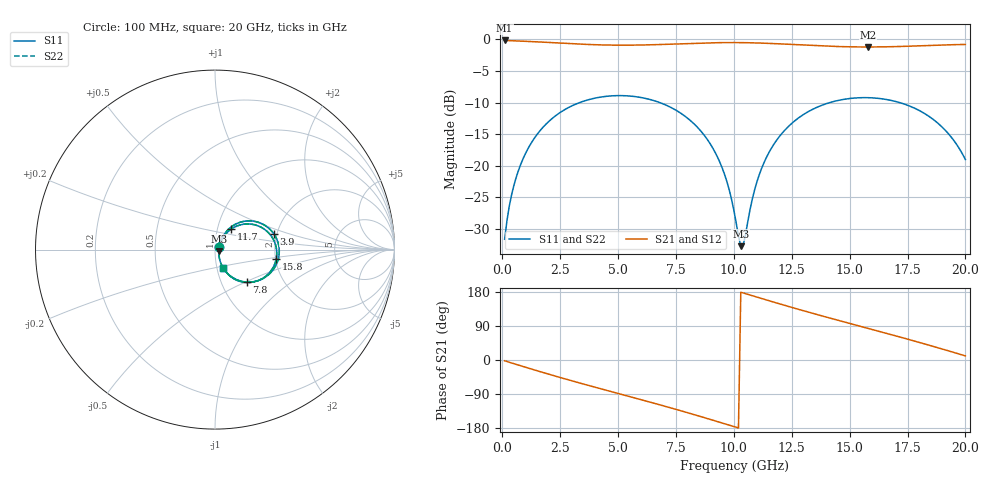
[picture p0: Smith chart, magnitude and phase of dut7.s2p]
! Touchstone file exported from HFSS 2026.1.0
!  File:  C:/ffzhzh/LocalFiles/Ansys_Project_Files/temp_train_TSV_RDL_7_1782960719_45568.aedt
!  Generated:  11:08:06 AM Jul  2, 2026
!  Design:  TSV_RDL
!  Project:  temp_train_TSV_RDL_7_1782960719_45568
! Variables:
!  h_bsmrdl = 5.77um
!  h_ox = 20um
!  h_rdl = 5um
!  h_sub = 92.3um
!  h_tmrdl = 3.32um
!  h_tsv = 92.3um
!  h_via = 3um
!  l_bsmrdl = 617.44um
!  l_sub = 5869.02um
!  l_tmrdl = 870.38um
!  m_sub = 200um
!  pitch = 39.52um
!  r_tsv = 8.91um
!  s_tmrdl = 10um
!  w_bsmrdl = 17.58um
!  w_sub = 500um
!  w_tmrdl = 27.48um
!  x_tsv_center1 = 884.12um
!  x_tsv_center2 = 1519.14um
!  x_tsv_center3 = 2417um
!  x_tsv_center4 = 3052.02um
!  x_tsv_center5 = 3949.88um
!  x_tsv_center6 = 4584.9um
# GHz S MA R 50.000000
! Terminal data exported
! Port[1] = TM_RDL1_1_T1
! Port[2] = TM_RDL5_1_T1
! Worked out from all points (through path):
!   200 points, 100 MHz to 20 GHz, reference 50 ohm
!   highest |S21| = -0.19 dB at 100 MHz (marker M1); lowest = -1.2 dB at 15.8 GHz (marker M2)
!   group delay of S21, straight-line fit = 48.3 ps
!   lowest |S11| = -32.7 dB at 10.3 GHz (marker M3), VSWR 1.05, Z = 52.3 - j0.729 ohm
!   |S11| at or under -10 dB: start of sweep to 3.349 GHz; 6.791 GHz to 14.16 GHz (7.365 GHz wide, 70.3 % of centre); 17.15 GHz to end of sweep
!   |S22| runs from -32.8 to -8.9 dB; largest |S21 - S12| = 2.2e-14
!   S11 on the Smith chart (normalised r, x): 100 MHz: 1.05, +0.03; 3.9 GHz: 1.92, +0.38; 7.8 GHz: 1.32, -0.51; 11.7 GHz: 1.16, +0.27; 15.8 GHz: 2.02, -0.24; 20 GHz: 1.08, -0.22
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0.1  0.02625 32.0  0.9781 -2.0  0.9781 -2.0  0.02625 32.0
! Gamma 0 0 0 0
! Port Impedance 50 0 50 0
0.5  0.06984 57.6  0.9711 -9.7  0.9711 -9.7  0.06984 57.6
1.2  0.146 55.5  0.9596 -22.8  0.9596 -22.8  0.146 55.5
2.2  0.2403 41.7  0.9387 -40.9  0.9387 -40.9  0.2403 41.7
3.5  0.3234 21.4  0.9124 -63.4  0.9124 -63.4  0.3234 21.4
3.9  0.3391 15.1  0.9064 -70.1  0.9064 -70.1  0.3391 15.1
5.4  0.3569 -8.2  0.8976 -94.8  0.8976 -94.8  0.3569 -8.2
6.8  0.3158 -30.0  0.9082 -118.2  0.9082 -118.2  0.3158 -30.0
7.8  0.2534 -45.6  0.9223 -135.5  0.9223 -135.5  0.2534 -45.6
9.3  0.1165 -65.6  0.9396 -162.6  0.9396 -162.6  0.1165 -65.8
9.8  0.06456 -65.2  0.9414 -171.9  0.9414 -171.9  0.06449 -65.5
10.1  0.03547 -51.5  0.9412 -177.4  0.9412 -177.4  0.03531 -51.9
10.3  0.02315 -17.5  0.9405 178.8  0.9405 178.8  0.02288 -17.8
10.4  0.02333 8.3  0.94 177.0  0.94 177.0  0.02305 8.4
11  0.075 55.4  0.9347 165.9  0.9347 165.9  0.07489 55.6
11.7  0.1452 51.7  0.9244 153.1  0.9244 153.1  0.1451 51.8
13.4  0.2792 27.6  0.8921 123.2  0.8921 123.2  0.2792 27.6
14.6  0.3311 9.3  0.8747 103.1  0.8747 103.1  0.331 9.4
15.8  0.3452 -8.7  0.8686 83.4  0.8686 83.4  0.3451 -8.7
16.7  0.3311 -22.2  0.8722 68.6  0.8722 68.6  0.3311 -22.2
18.6  0.2333 -50.4  0.8947 36.1  0.8947 36.1  0.2332 -50.4
20  0.112 -65.1  0.91 10.8  0.91 10.8  0.112 -65.0
